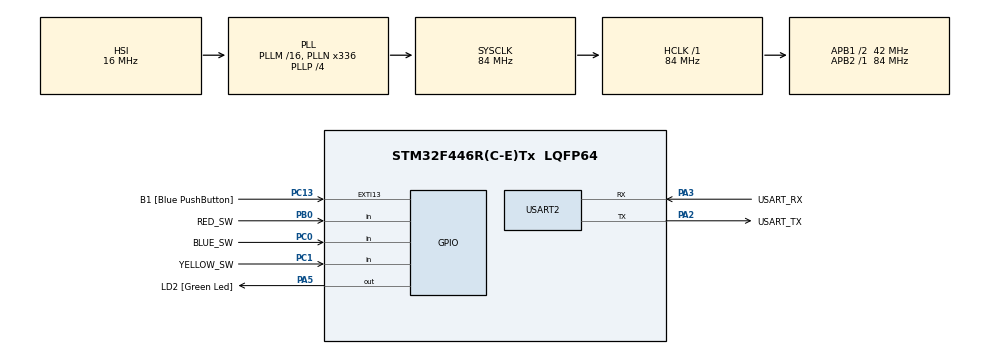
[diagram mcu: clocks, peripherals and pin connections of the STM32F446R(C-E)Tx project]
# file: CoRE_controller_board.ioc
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Mcu.Family=STM32F4
Mcu.Name=STM32F446R(C-E)Tx
Mcu.Package=LQFP64
NVIC.PriorityGroup=NVIC_PRIORITYGROUP_0
NVIC.USART2_IRQn=true\:0\:0\:false\:false\:true\:true\:true\:true
PA13.GPIO_Label=TMS
PA13.Signal=SYS_JTMS-SWDIO
PA14.GPIO_Label=TCK
PA14.Signal=SYS_JTCK-SWCLK
PA2.GPIO_Label=USART_TX
PA2.Mode=Asynchronous
PA2.Signal=USART2_TX
PA3.GPIO_Label=USART_RX
PA3.Mode=Asynchronous
PA3.Signal=USART2_RX
PA5.GPIO_Label=LD2 [Green Led]
PA5.GPIO_PuPd=GPIO_NOPULL
PA5.Signal=GPIO_Output
PB0.GPIO_Label=RED_SW
PB0.GPIO_PuPd=GPIO_PULLUP
PB0.Signal=GPIO_Input
PB3.GPIO_Label=SWO
PB3.Signal=SYS_JTDO-SWO
PC0.GPIO_Label=BLUE_SW
PC0.GPIO_PuPd=GPIO_PULLUP
PC0.Signal=GPIO_Input
PC1.GPIO_Label=YELLOW_SW
PC1.GPIO_PuPd=GPIO_PULLUP
PC1.Signal=GPIO_Input
PC13.GPIO_Label=B1 [Blue PushButton]
PC13.GPIO_ModeDefaultEXTI=GPIO_MODE_IT_FALLING
PC13.Signal=GPXTI13
PC14-OSC32_IN.Signal=RCC_OSC32_IN
PC15-OSC32_OUT.Signal=RCC_OSC32_OUT
PH0-OSC_IN.Signal=RCC_OSC_IN
PH1-OSC_OUT.Signal=RCC_OSC_OUT
ProjectManager.HeapSize=0x200
ProjectManager.StackSize=0x400
ProjectManager.TargetToolchain=STM32CubeIDE
RCC.AHBFreq_Value=84000000
RCC.APB1CLKDivider=RCC_HCLK_DIV2
RCC.APB1Freq_Value=42000000
RCC.APB1TimFreq_Value=84000000
RCC.APB2Freq_Value=84000000
RCC.APB2TimFreq_Value=84000000
RCC.CortexFreq_Value=84000000
RCC.FLatency-AdvancedSettings=FLASH_LATENCY_2
RCC.HCLKFreq_Value=84000000
RCC.HSE_VALUE=8000000
RCC.HSI_VALUE=16000000
RCC.LSE_VALUE=32768
RCC.PLLN=336
RCC.PLLP=RCC_PLLP_DIV4
RCC.SYSCLKFreq_VALUE=84000000
RCC.SYSCLKSource=RCC_SYSCLKSOURCE_PLLCLK
RCC.USBFreq_Value=168000000
RCC.VCOOutputFreq_Value=336000000
USART2.VirtualMode=VM_ASYNC
board=NUCLEO-F446RE

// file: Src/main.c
/* USER CODE BEGIN Header */
/**
 ******************************************************************************
 * @file           : main.c
 * @brief          : Main program body
 ******************************************************************************
 * @attention
 *
 * Copyright (c) 2023 STMicroelectronics.
 * All rights reserved.
 *
 * This software is licensed under terms that can be found in the LICENSE file
 * in the root directory of this software component.
 * If no LICENSE file comes with this software, it is provided AS-IS.
 *
 ******************************************************************************
 */
/* USER CODE END Header */
#include "main.h"
#include "usart.h"
#include <string.h>
#include <stdio.h>
/* USER CODE BEGIN Includes */
#include "stdio.h"
/* USER CODE END Includes */

/* USER CODE BEGIN PV */
/* 送信データ用バッファ */
char tx_buffer[128];
/* 受信データ用バッファ */
char rx_buffer[128];
/* USER CODE END PV */

void SystemClock_Config(void);

/* USER CODE BEGIN 0 */
#define SWITCH_GPIO_PORT GPIOC
#define SWITCH_GPIO_PIN GPIO_PIN_13
#define DEBOUNCE_DELAY_MS 10      // チャタリング対策の遅延時間（ミリ秒）
#define DEBOUNCE_STABLE_COUNT 5   // 安定状態とみなすために必要な連続カウント

typedef enum {
    ACTIVE_HIGH = 0,  // 押したら HIGH（外部プルダウン等）
    ACTIVE_LOW  = 1   // 押したら LOW  （内部プルアップ）
} button_polarity_t;

static inline int normalize_pin(GPIO_PinState s, button_polarity_t pol) {
    if (pol == ACTIVE_LOW) {
        return (s == GPIO_PIN_RESET) ? 1 : 0;  // プルアップ: LOWで押下
    } else {
        return (s == GPIO_PIN_SET)   ? 1 : 0;  // プルダウン: HIGHで押下
    }
}

int get_sw_state(GPIO_TypeDef *GPIOx, uint16_t GPIO_Pin, button_polarity_t pol) {
    int stable_count = 0;
    int current_state, last_state;

    last_state = normalize_pin(HAL_GPIO_ReadPin(GPIOx, GPIO_Pin), pol);

    while (stable_count < DEBOUNCE_STABLE_COUNT) {
        current_state = normalize_pin(HAL_GPIO_ReadPin(GPIOx, GPIO_Pin), pol);
        if (current_state == last_state) {
            stable_count++;
        } else {
            stable_count = 0;
        }
        HAL_Delay(DEBOUNCE_DELAY_MS);
        last_state = current_state;
    }
    return last_state;  // 押した=1, 離した=0
}

#ifdef __GNUC__
#define PUTCHAR_PROTOTYPE int __io_putchar(int ch)
#else
#define PUTCHAR_PROTOTYPE int fputc(int ch, FILE *f)
#endif

PUTCHAR_PROTOTYPE {
    HAL_UART_Transmit(&huart2, (uint8_t *)&ch, 1, HAL_MAX_DELAY);
    return ch;
}
/* USER CODE END 0 */

int main(void)
{

  /* MCU Configuration--------------------------------------------------------*/

  /* Reset of all peripherals, Initializes the Flash interface and the Systick. */
  HAL_Init();

  /* Configure the system clock */
  SystemClock_Config();

  /* Initialize all configured peripherals */
  MX_GPIO_Init();
  MX_USART2_UART_Init();

  /* Infinite loop */
  /* USER CODE BEGIN WHILE */
    HAL_GPIO_WritePin(GPIOA, GPIO_PIN_5, GPIO_PIN_SET);

    int camera_id = 0;
    int record_flag = 0;
    int team_collor = 0;

    int blue_sw_prev   = get_sw_state(BLUE_SW_GPIO_Port,   BLUE_SW_Pin,   ACTIVE_LOW);
    int yellow_sw_prev = get_sw_state(YELLOW_SW_GPIO_Port, YELLOW_SW_Pin, ACTIVE_LOW);
    int red_sw_prev    = get_sw_state(RED_SW_GPIO_Port,    RED_SW_Pin,    ACTIVE_LOW);

    while (1) {
        int sw_blue   = get_sw_state(BLUE_SW_GPIO_Port,   BLUE_SW_Pin,   ACTIVE_LOW);
        int sw_yellow = get_sw_state(YELLOW_SW_GPIO_Port, YELLOW_SW_Pin, ACTIVE_LOW);
        int sw_red    = get_sw_state(RED_SW_GPIO_Port,    RED_SW_Pin,    ACTIVE_LOW);

        // 押した瞬間=0→1 の立ち上がりを検出
        if (sw_blue && !blue_sw_prev)
            camera_id = (camera_id + 1) % 3;
        if (sw_yellow && !yellow_sw_prev)
            record_flag = 1 - record_flag;
        if (sw_red && !red_sw_prev)
            team_collor = 1 - team_collor;

        HAL_Delay(10);

        blue_sw_prev   = sw_blue;
        yellow_sw_prev = sw_yellow;
        red_sw_prev    = sw_red;

        // 送信データの作成（robot_stateとして固定値＋スイッチで制御する値）
        int state_id = 2;
        int pitch_deg = 120;        // 1/10度単位（例：12.0度なら120）
        int muzzle_velocity = 154;  // mm/s（例：15.4 m/sなら154）
        int left_disks_num = 53;
        int right_disks_num = 25;
        int video_id = camera_id;

        uint8_t flags = 0;
        if (record_flag) {
            flags |= (1 << 1);  // 2ビット目を1にする
        } else {
            flags &= ~(1 << 1); // 2ビット目を0にする
        }

        if (team_collor) {
            flags |= (1 << 3);  // 3ビット目を1にする
        } else {
            flags &= ~(1 << 3); // 3ビット目を0にする
        }
        int reserved = 0;

        // robot_stateの文字列を生成（元の形式）
        snprintf(tx_buffer, sizeof(tx_buffer), "%d,%d,%d,%d,%d,%d,%d,%d\r\n",
                 state_id, pitch_deg, muzzle_velocity, left_disks_num,
                 right_disks_num, video_id, flags, reserved);

        // データ送信
        HAL_UART_Transmit(&huart2, (uint8_t *)tx_buffer, strlen(tx_buffer), 1000);

        /* デバッグ用（UARTが1ポートしかないので苦肉の策）
        // ここでPC側から新たに送られてくる "%d,%d,%d\n" 形式の文字列を受信する
        memset(rx_buffer, 0, sizeof(rx_buffer));
        // 10msタイムアウトで受信（受信文字数は最大 rx_buffer サイズまで
        if (HAL_UART_Receive(&huart2, (uint8_t *)rx_buffer, sizeof(rx_buffer) - 1, 10) > 0) {
            // 受信した文字列があれば、改行コードまで受信していると仮定し、確認のためエコー送信
            HAL_UART_Transmit(&huart2, (uint8_t *)rx_buffer, strlen(rx_buffer), 1000);
            // 必要に応じて、受信内容の解析やデバッグ用LEDの点灯などを実装
        }
        */

        blue_sw_prev = sw_blue;
        yellow_sw_prev = sw_yellow;
        red_sw_prev = sw_red;
    }
  /* USER CODE END 3 */
}

void SystemClock_Config(void)
{
  RCC_OscInitTypeDef RCC_OscInitStruct = {0};
  RCC_ClkInitTypeDef RCC_ClkInitStruct = {0};

  /** Configure the main internal regulator output voltage
  */
  __HAL_RCC_PWR_CLK_ENABLE();
  __HAL_PWR_VOLTAGESCALING_CONFIG(PWR_REGULATOR_VOLTAGE_SCALE3);

  /** Initializes the RCC Oscillators according to the specified parameters
  * in the RCC_OscInitTypeDef structure.
  */
  RCC_OscInitStruct.OscillatorType = RCC_OSCILLATORTYPE_HSI;
  RCC_OscInitStruct.HSIState = RCC_HSI_ON;
  RCC_OscInitStruct.HSICalibrationValue = RCC_HSICALIBRATION_DEFAULT;
  RCC_OscInitStruct.PLL.PLLState = RCC_PLL_ON;
  RCC_OscInitStruct.PLL.PLLSource = RCC_PLLSOURCE_HSI;
  RCC_OscInitStruct.PLL.PLLM = 16;
  RCC_OscInitStruct.PLL.PLLN = 336;
  RCC_OscInitStruct.PLL.PLLP = RCC_PLLP_DIV4;
  RCC_OscInitStruct.PLL.PLLQ = 2;
  RCC_OscInitStruct.PLL.PLLR = 2;
  if (HAL_RCC_OscConfig(&RCC_OscInitStruct) != HAL_OK)
  {
    Error_Handler();
  }

  /** Initializes the CPU, AHB and APB buses clocks
  */
  RCC_ClkInitStruct.ClockType = RCC_CLOCKTYPE_HCLK|RCC_CLOCKTYPE_SYSCLK
                              |RCC_CLOCKTYPE_PCLK1|RCC_CLOCKTYPE_PCLK2;
  RCC_ClkInitStruct.SYSCLKSource = RCC_SYSCLKSOURCE_PLLCLK;
  RCC_ClkInitStruct.AHBCLKDivider = RCC_SYSCLK_DIV1;
  RCC_ClkInitStruct.APB1CLKDivider = RCC_HCLK_DIV2;
  RCC_ClkInitStruct.APB2CLKDivider = RCC_HCLK_DIV1;

  if (HAL_RCC_ClockConfig(&RCC_ClkInitStruct, FLASH_LATENCY_2) != HAL_OK)
  {
    Error_Handler();
  }
}

void Error_Handler(void)
{
  __disable_irq();
  while (1)
  {
  }
}
